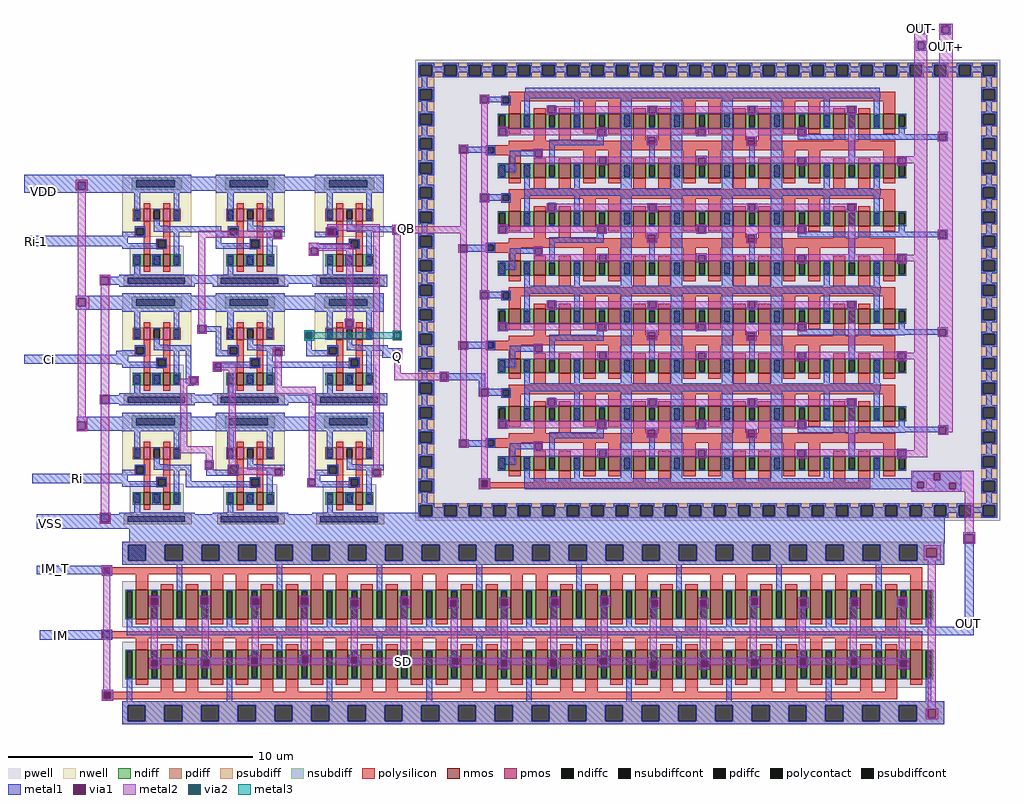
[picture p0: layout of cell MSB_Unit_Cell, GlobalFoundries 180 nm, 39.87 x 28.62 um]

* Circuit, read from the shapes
.subckt MSB_Unit_Cell IM_T IM VSS Ri Ci Ri-1 VDD QB Q OUT OUT+ OUT- SD
XM1 SD IM VSS VSS nfet_03v3 w=1.2u l=0.5u m=32
XM2 SD IM_T OUT VSS nfet_03v3 w=1.2u l=0.5u m=32
XM3 Local_Enc_0/NAND_3/SD Ri VSS VSS nfet_03v3 w=0.5u l=0.28u
XM4 Local_Enc_0/NAND_2/SD Ci VSS VSS nfet_03v3 w=0.5u l=0.28u
XM5 Local_Enc_0/NAND_0/SD Ri-1 VSS VSS nfet_03v3 w=0.5u l=0.28u
XM6 Local_Enc_0/NAND_6/A Ri Local_Enc_0/NAND_3/SD VSS nfet_03v3 w=0.5u l=0.28u
XM7 Local_Enc_0/NAND_6/B Ci Local_Enc_0/NAND_2/SD VSS nfet_03v3 w=0.5u l=0.28u
XM8 Local_Enc_0/NAND_1/A Ri-1 Local_Enc_0/NAND_0/SD VSS nfet_03v3 w=0.5u l=0.28u
XM9 Local_Enc_0/NAND_6/SD Local_Enc_0/NAND_6/B VSS VSS nfet_03v3 w=0.5u l=0.28u
XM10 Local_Enc_0/NAND_5/SD Local_Enc_0/NAND_5/B VSS VSS nfet_03v3 w=0.5u l=0.28u
XM11 Local_Enc_0/NAND_1/SD Local_Enc_0/NAND_1/A VSS VSS nfet_03v3 w=0.5u l=0.28u
XM12 Local_Enc_0/NAND_5/A Local_Enc_0/NAND_6/A Local_Enc_0/NAND_6/SD VSS nfet_03v3 w=0.5u l=0.28u
XM13 Local_Enc_0/NAND_7/A Local_Enc_0/NAND_5/A Local_Enc_0/NAND_5/SD VSS nfet_03v3 w=0.5u l=0.28u
XM14 Local_Enc_0/NAND_5/B Local_Enc_0/NAND_1/A Local_Enc_0/NAND_1/SD VSS nfet_03v3 w=0.5u l=0.28u
XM15 Local_Enc_0/NAND_7/SD Local_Enc_0/NAND_7/A VSS VSS nfet_03v3 w=0.5u l=0.28u
XM16 Local_Enc_0/NAND_8/SD QB VSS VSS nfet_03v3 w=0.5u l=0.28u
XM17 Local_Enc_0/NAND_4/SD Local_Enc_0/NAND_4/B VSS VSS nfet_03v3 w=0.5u l=0.28u
XM18 Local_Enc_0/NAND_4/B Local_Enc_0/NAND_7/A Local_Enc_0/NAND_7/SD VSS nfet_03v3 w=0.5u l=0.28u
XM19 Q Local_Enc_0/NAND_7/A Local_Enc_0/NAND_8/SD VSS nfet_03v3 w=0.5u l=0.28u
XM20 QB Q Local_Enc_0/NAND_4/SD VSS nfet_03v3 w=0.5u l=0.28u
XM21 OUT QB OUT- VSS nfet_03v3 w=0.6u l=0.5u m=64
XM22 OUT Q OUT+ VSS nfet_03v3 w=0.6u l=0.5u m=64
XM23 Local_Enc_0/NAND_6/A Ri VDD VDD pfet_03v3 w=0.5u l=0.28u m=2
XM24 Local_Enc_0/NAND_6/B Ci VDD VDD pfet_03v3 w=0.5u l=0.28u m=2
XM25 Local_Enc_0/NAND_1/A Ri-1 VDD VDD pfet_03v3 w=0.5u l=0.28u m=2
XM26 Local_Enc_0/NAND_5/A Local_Enc_0/NAND_6/B VDD VDD pfet_03v3 w=0.5u l=0.28u
XM27 Local_Enc_0/NAND_7/A Local_Enc_0/NAND_5/B VDD VDD pfet_03v3 w=0.5u l=0.28u
XM28 Local_Enc_0/NAND_5/B Local_Enc_0/NAND_1/A VDD VDD pfet_03v3 w=0.5u l=0.28u m=2
XM29 VDD Local_Enc_0/NAND_6/A Local_Enc_0/NAND_5/A VDD pfet_03v3 w=0.5u l=0.28u
XM30 VDD Local_Enc_0/NAND_5/A Local_Enc_0/NAND_7/A VDD pfet_03v3 w=0.5u l=0.28u
XM31 Local_Enc_0/NAND_4/B Local_Enc_0/NAND_7/A VDD VDD pfet_03v3 w=0.5u l=0.28u m=2
XM32 Q QB VDD VDD pfet_03v3 w=0.5u l=0.28u
XM33 QB Local_Enc_0/NAND_4/B VDD VDD pfet_03v3 w=0.5u l=0.28u
XM34 VDD Local_Enc_0/NAND_7/A Q VDD pfet_03v3 w=0.5u l=0.28u
XM35 VDD Q QB VDD pfet_03v3 w=0.5u l=0.28u
.ends

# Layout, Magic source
magic
tech gf180mcuC
magscale 1 10
<< pwell >>
rect -446 3978 4332 7401
rect -446 3967 3704 3978
rect -446 3898 3732 3967
rect 3783 3963 4332 3978
rect 3798 3898 4332 3963
rect -446 3633 4332 3898
<< psubdiff >>
rect -422 7360 4308 7377
rect -422 7270 -407 7360
rect -307 7270 -207 7360
rect -107 7270 -7 7360
rect 93 7270 193 7360
rect 293 7270 393 7360
rect 493 7270 593 7360
rect 693 7270 793 7360
rect 893 7270 993 7360
rect 1093 7270 1193 7360
rect 1293 7270 1393 7360
rect 1493 7270 1593 7360
rect 1693 7270 1793 7360
rect 1893 7270 1993 7360
rect 2093 7270 2193 7360
rect 2293 7270 2393 7360
rect 2493 7270 2593 7360
rect 2693 7270 2793 7360
rect 2893 7270 2993 7360
rect 3093 7270 3193 7360
rect 3293 7270 3393 7360
rect 3493 7270 3593 7360
rect 3693 7270 3793 7360
rect 3893 7270 3993 7360
rect 4093 7270 4193 7360
rect 4293 7270 4308 7360
rect -422 7257 4308 7270
rect -422 7160 -292 7257
rect -422 7070 -407 7160
rect -307 7070 -292 7160
rect -422 6960 -292 7070
rect -422 6870 -407 6960
rect -307 6870 -292 6960
rect -422 6760 -292 6870
rect -422 6670 -407 6760
rect -307 6670 -292 6760
rect -422 6560 -292 6670
rect -422 6470 -407 6560
rect -307 6470 -292 6560
rect -422 6360 -292 6470
rect -422 6270 -407 6360
rect -307 6270 -292 6360
rect -422 6160 -292 6270
rect -422 6070 -407 6160
rect -307 6070 -292 6160
rect -422 5960 -292 6070
rect -422 5870 -407 5960
rect -307 5870 -292 5960
rect -422 5760 -292 5870
rect -422 5670 -407 5760
rect -307 5670 -292 5760
rect -422 5560 -292 5670
rect -422 5470 -407 5560
rect -307 5470 -292 5560
rect -422 5360 -292 5470
rect -422 5270 -407 5360
rect -307 5270 -292 5360
rect -422 5160 -292 5270
rect -422 5070 -407 5160
rect -307 5070 -292 5160
rect -422 4960 -292 5070
rect -422 4870 -407 4960
rect -307 4870 -292 4960
rect -422 4760 -292 4870
rect -422 4670 -407 4760
rect -307 4670 -292 4760
rect -422 4560 -292 4670
rect -422 4470 -407 4560
rect -307 4470 -292 4560
rect -422 4360 -292 4470
rect -422 4270 -407 4360
rect -307 4270 -292 4360
rect -422 4160 -292 4270
rect -422 4070 -407 4160
rect -307 4070 -292 4160
rect -422 3960 -292 4070
rect 4178 7160 4308 7257
rect 4178 7070 4193 7160
rect 4293 7070 4308 7160
rect 4178 6960 4308 7070
rect 4178 6870 4193 6960
rect 4293 6870 4308 6960
rect 4178 6760 4308 6870
rect 4178 6670 4193 6760
rect 4293 6670 4308 6760
rect 4178 6560 4308 6670
rect 4178 6470 4193 6560
rect 4293 6470 4308 6560
rect 4178 6360 4308 6470
rect 4178 6270 4193 6360
rect 4293 6270 4308 6360
rect 4178 6160 4308 6270
rect 4178 6070 4193 6160
rect 4293 6070 4308 6160
rect 4178 5960 4308 6070
rect 4178 5870 4193 5960
rect 4293 5870 4308 5960
rect 4178 5760 4308 5870
rect 4178 5670 4193 5760
rect 4293 5670 4308 5760
rect 4178 5560 4308 5670
rect 4178 5470 4193 5560
rect 4293 5470 4308 5560
rect 4178 5360 4308 5470
rect 4178 5270 4193 5360
rect 4293 5270 4308 5360
rect 4178 5160 4308 5270
rect 4178 5070 4193 5160
rect 4293 5070 4308 5160
rect 4178 4960 4308 5070
rect 4178 4870 4193 4960
rect 4293 4870 4308 4960
rect 4178 4760 4308 4870
rect 4178 4670 4193 4760
rect 4293 4670 4308 4760
rect 4178 4560 4308 4670
rect 4178 4470 4193 4560
rect 4293 4470 4308 4560
rect 4178 4360 4308 4470
rect 4178 4270 4193 4360
rect 4293 4270 4308 4360
rect 4178 4160 4308 4270
rect 4178 4070 4193 4160
rect 4293 4070 4308 4160
rect -422 3870 -407 3960
rect -307 3870 -292 3960
rect 4178 3960 4308 4070
rect -422 3777 -292 3870
rect 4178 3870 4193 3960
rect 4293 3870 4308 3960
rect 4178 3777 4308 3870
rect -422 3760 4308 3777
rect -422 3670 -407 3760
rect -307 3670 -207 3760
rect -107 3670 -7 3760
rect 93 3670 193 3760
rect 293 3670 393 3760
rect 493 3670 593 3760
rect 693 3670 793 3760
rect 893 3670 993 3760
rect 1093 3670 1193 3760
rect 1293 3670 1393 3760
rect 1493 3670 1593 3760
rect 1693 3670 1793 3760
rect 1893 3670 1993 3760
rect 2093 3670 2193 3760
rect 2293 3670 2393 3760
rect 2493 3670 2593 3760
rect 2693 3670 2793 3760
rect 2893 3670 2993 3760
rect 3093 3670 3193 3760
rect 3293 3670 3393 3760
rect 3493 3670 3593 3760
rect 3693 3670 3793 3760
rect 3893 3670 3993 3760
rect 4093 3670 4193 3760
rect 4293 3670 4308 3760
rect -422 3657 4308 3670
<< psubdiffcont >>
rect -407 7270 -307 7360
rect -207 7270 -107 7360
rect -7 7270 93 7360
rect 193 7270 293 7360
rect 393 7270 493 7360
rect 593 7270 693 7360
rect 793 7270 893 7360
rect 993 7270 1093 7360
rect 1193 7270 1293 7360
rect 1393 7270 1493 7360
rect 1593 7270 1693 7360
rect 1793 7270 1893 7360
rect 1993 7270 2093 7360
rect 2193 7270 2293 7360
rect 2393 7270 2493 7360
rect 2593 7270 2693 7360
rect 2793 7270 2893 7360
rect 2993 7270 3093 7360
rect 3193 7270 3293 7360
rect 3393 7270 3493 7360
rect 3593 7270 3693 7360
rect 3793 7270 3893 7360
rect 3993 7270 4093 7360
rect 4193 7270 4293 7360
rect -407 7070 -307 7160
rect -407 6870 -307 6960
rect -407 6670 -307 6760
rect -407 6470 -307 6560
rect -407 6270 -307 6360
rect -407 6070 -307 6160
rect -407 5870 -307 5960
rect -407 5670 -307 5760
rect -407 5470 -307 5560
rect -407 5270 -307 5360
rect -407 5070 -307 5160
rect -407 4870 -307 4960
rect -407 4670 -307 4760
rect -407 4470 -307 4560
rect -407 4270 -307 4360
rect -407 4070 -307 4160
rect 4193 7070 4293 7160
rect 4193 6870 4293 6960
rect 4193 6670 4293 6760
rect 4193 6470 4293 6560
rect 4193 6270 4293 6360
rect 4193 6070 4293 6160
rect 4193 5870 4293 5960
rect 4193 5670 4293 5760
rect 4193 5470 4293 5560
rect 4193 5270 4293 5360
rect 4193 5070 4293 5160
rect 4193 4870 4293 4960
rect 4193 4670 4293 4760
rect 4193 4470 4293 4560
rect 4193 4270 4293 4360
rect 4193 4070 4293 4160
rect -407 3870 -307 3960
rect 4193 3870 4293 3960
rect -407 3670 -307 3760
rect -207 3670 -107 3760
rect -7 3670 93 3760
rect 193 3670 293 3760
rect 393 3670 493 3760
rect 593 3670 693 3760
rect 793 3670 893 3760
rect 993 3670 1093 3760
rect 1193 3670 1293 3760
rect 1393 3670 1493 3760
rect 1593 3670 1693 3760
rect 1793 3670 1893 3760
rect 1993 3670 2093 3760
rect 2193 3670 2293 3760
rect 2393 3670 2493 3760
rect 2593 3670 2693 3760
rect 2793 3670 2893 3760
rect 2993 3670 3093 3760
rect 3193 3670 3293 3760
rect 3393 3670 3493 3760
rect 3593 3670 3693 3760
rect 3793 3670 3893 3760
rect 3993 3670 4093 3760
rect 4193 3670 4293 3760
<< polysilicon >>
rect 75 3960 167 3981
rect 75 3909 95 3960
rect 146 3949 167 3960
rect 146 3909 697 3949
rect 75 3899 697 3909
rect 75 3889 167 3899
<< polycontact >>
rect 95 3909 146 3960
<< metal1 >>
rect 3645 7677 3729 7689
rect 3645 7621 3661 7677
rect 3716 7621 3729 7677
rect 3645 7608 3729 7621
rect 3846 7674 3930 7686
rect 3846 7618 3862 7674
rect 3917 7618 3930 7674
rect 3846 7605 3930 7618
rect 3643 7543 3727 7555
rect 3643 7487 3659 7543
rect 3714 7487 3727 7543
rect 3643 7474 3727 7487
rect 3851 7538 3935 7550
rect 3851 7482 3867 7538
rect 3922 7482 3935 7538
rect 3851 7469 3935 7482
rect -422 7360 -292 7377
rect -422 7270 -407 7360
rect -307 7343 -292 7360
rect -222 7360 -92 7377
rect -222 7343 -207 7360
rect -307 7297 -207 7343
rect -307 7270 -292 7297
rect -422 7257 -292 7270
rect -222 7270 -207 7297
rect -107 7343 -92 7360
rect -22 7360 108 7377
rect -22 7343 -7 7360
rect -107 7297 -7 7343
rect -107 7270 -92 7297
rect -222 7257 -92 7270
rect -22 7270 -7 7297
rect 93 7343 108 7360
rect 178 7360 308 7377
rect 178 7343 193 7360
rect 93 7297 193 7343
rect 93 7270 108 7297
rect -22 7257 108 7270
rect 178 7270 193 7297
rect 293 7343 308 7360
rect 378 7360 508 7377
rect 378 7343 393 7360
rect 293 7297 393 7343
rect 293 7270 308 7297
rect 178 7257 308 7270
rect 378 7270 393 7297
rect 493 7343 508 7360
rect 578 7360 708 7377
rect 578 7343 593 7360
rect 493 7297 593 7343
rect 493 7270 508 7297
rect 378 7257 508 7270
rect 578 7270 593 7297
rect 693 7343 708 7360
rect 778 7360 908 7377
rect 778 7343 793 7360
rect 693 7297 793 7343
rect 693 7270 708 7297
rect 578 7257 708 7270
rect 778 7270 793 7297
rect 893 7343 908 7360
rect 978 7360 1108 7377
rect 978 7343 993 7360
rect 893 7297 993 7343
rect 893 7270 908 7297
rect 778 7257 908 7270
rect 978 7270 993 7297
rect 1093 7343 1108 7360
rect 1178 7360 1308 7377
rect 1178 7343 1193 7360
rect 1093 7297 1193 7343
rect 1093 7270 1108 7297
rect 978 7257 1108 7270
rect 1178 7270 1193 7297
rect 1293 7343 1308 7360
rect 1378 7360 1508 7377
rect 1378 7343 1393 7360
rect 1293 7297 1393 7343
rect 1293 7270 1308 7297
rect 1178 7257 1308 7270
rect 1378 7270 1393 7297
rect 1493 7343 1508 7360
rect 1578 7360 1708 7377
rect 1578 7343 1593 7360
rect 1493 7297 1593 7343
rect 1493 7270 1508 7297
rect 1378 7257 1508 7270
rect 1578 7270 1593 7297
rect 1693 7343 1708 7360
rect 1778 7360 1908 7377
rect 1778 7343 1793 7360
rect 1693 7297 1793 7343
rect 1693 7270 1708 7297
rect 1578 7257 1708 7270
rect 1778 7270 1793 7297
rect 1893 7343 1908 7360
rect 1978 7360 2108 7377
rect 1978 7343 1993 7360
rect 1893 7297 1993 7343
rect 1893 7270 1908 7297
rect 1778 7257 1908 7270
rect 1978 7270 1993 7297
rect 2093 7343 2108 7360
rect 2178 7360 2308 7377
rect 2178 7343 2193 7360
rect 2093 7297 2193 7343
rect 2093 7270 2108 7297
rect 1978 7257 2108 7270
rect 2178 7270 2193 7297
rect 2293 7343 2308 7360
rect 2378 7360 2508 7377
rect 2378 7343 2393 7360
rect 2293 7297 2393 7343
rect 2293 7270 2308 7297
rect 2178 7257 2308 7270
rect 2378 7270 2393 7297
rect 2493 7343 2508 7360
rect 2578 7360 2708 7377
rect 2578 7343 2593 7360
rect 2493 7297 2593 7343
rect 2493 7270 2508 7297
rect 2378 7257 2508 7270
rect 2578 7270 2593 7297
rect 2693 7343 2708 7360
rect 2778 7360 2908 7377
rect 2778 7343 2793 7360
rect 2693 7297 2793 7343
rect 2693 7270 2708 7297
rect 2578 7257 2708 7270
rect 2778 7270 2793 7297
rect 2893 7343 2908 7360
rect 2978 7360 3108 7377
rect 2978 7343 2993 7360
rect 2893 7297 2993 7343
rect 2893 7270 2908 7297
rect 2778 7257 2908 7270
rect 2978 7270 2993 7297
rect 3093 7343 3108 7360
rect 3178 7360 3308 7377
rect 3178 7343 3193 7360
rect 3093 7297 3193 7343
rect 3093 7270 3108 7297
rect 2978 7257 3108 7270
rect 3178 7270 3193 7297
rect 3293 7343 3308 7360
rect 3378 7360 3508 7377
rect 3378 7343 3393 7360
rect 3293 7297 3393 7343
rect 3293 7270 3308 7297
rect 3178 7257 3308 7270
rect 3378 7270 3393 7297
rect 3493 7343 3508 7360
rect 3578 7360 3708 7377
rect 3578 7343 3593 7360
rect 3493 7297 3593 7343
rect 3493 7270 3508 7297
rect 3378 7257 3508 7270
rect 3578 7270 3593 7297
rect 3693 7343 3708 7360
rect 3778 7360 3908 7377
rect 3778 7343 3793 7360
rect 3693 7297 3793 7343
rect 3693 7270 3708 7297
rect 3578 7257 3708 7270
rect 3778 7270 3793 7297
rect 3893 7343 3908 7360
rect 3978 7360 4108 7377
rect 3978 7343 3993 7360
rect 3893 7297 3993 7343
rect 3893 7270 3908 7297
rect 3778 7257 3908 7270
rect 3978 7270 3993 7297
rect 4093 7343 4108 7360
rect 4178 7360 4308 7377
rect 4178 7343 4193 7360
rect 4093 7297 4193 7343
rect 4093 7270 4108 7297
rect 3978 7257 4108 7270
rect 4178 7270 4193 7297
rect 4293 7270 4308 7360
rect 4178 7257 4308 7270
rect -393 7177 -347 7257
rect 4220 7177 4266 7257
rect -422 7160 -292 7177
rect -422 7070 -407 7160
rect -307 7070 -292 7160
rect 454 7124 3348 7170
rect -422 7057 -292 7070
rect 81 7101 159 7113
rect -393 6977 -347 7057
rect 81 7047 93 7101
rect 147 7097 159 7101
rect 147 7051 281 7097
rect 147 7047 159 7051
rect 81 7039 159 7047
rect -422 6960 -292 6977
rect -422 6870 -407 6960
rect -307 6870 -292 6960
rect -422 6857 -292 6870
rect -393 6777 -347 6857
rect -422 6760 -292 6777
rect -422 6670 -407 6760
rect -307 6670 -292 6760
rect -422 6657 -292 6670
rect -90 6692 -12 6704
rect -393 6577 -347 6657
rect -90 6638 -78 6692
rect -24 6688 -12 6692
rect -24 6642 172 6688
rect -24 6638 -12 6642
rect -90 6632 -12 6638
rect -422 6560 -292 6577
rect -422 6470 -407 6560
rect -307 6470 -292 6560
rect -3641 6452 -2588 6462
rect -422 6457 -292 6470
rect -3641 6336 -2549 6452
rect -393 6377 -347 6457
rect -422 6360 -292 6377
rect -3641 6312 -2588 6336
rect -422 6270 -407 6360
rect -307 6270 -292 6360
rect -422 6257 -292 6270
rect 80 6302 158 6311
rect -393 6177 -347 6257
rect 80 6246 92 6302
rect 148 6246 284 6302
rect 80 6237 158 6246
rect -422 6160 -292 6177
rect -422 6070 -407 6160
rect -307 6070 -292 6160
rect -422 6057 -292 6070
rect -602 5992 -488 6038
rect -393 5977 -347 6057
rect -422 5960 -292 5977
rect -3625 5942 -2835 5960
rect -3625 5896 -2825 5942
rect -3625 5878 -2835 5896
rect -422 5870 -407 5960
rect -307 5870 -292 5960
rect -422 5857 -292 5870
rect -93 5887 -15 5894
rect -393 5777 -347 5857
rect -93 5831 -79 5887
rect -23 5831 163 5887
rect -93 5822 -15 5831
rect -422 5760 -292 5777
rect -422 5670 -407 5760
rect -307 5670 -292 5760
rect -422 5657 -292 5670
rect -393 5577 -347 5657
rect -422 5560 -292 5577
rect -422 5470 -407 5560
rect -307 5470 -292 5560
rect -422 5457 -292 5470
rect 80 5506 158 5517
rect -393 5377 -347 5457
rect 80 5450 92 5506
rect 148 5450 284 5506
rect 80 5443 158 5450
rect -422 5360 -292 5377
rect -422 5270 -407 5360
rect -307 5270 -292 5360
rect -422 5257 -292 5270
rect -393 5177 -347 5257
rect -422 5160 -292 5177
rect -422 5070 -407 5160
rect -307 5070 -292 5160
rect -422 5057 -292 5070
rect -94 5095 -11 5101
rect -2887 5007 -2815 5023
rect -716 5015 -551 5043
rect -2887 4991 -2804 5007
rect -716 4997 -617 5015
rect -3642 4917 -2790 4991
rect -673 4965 -617 4997
rect -630 4961 -617 4965
rect -563 4961 -551 5015
rect -393 4977 -347 5057
rect -94 5039 -79 5095
rect -23 5039 183 5095
rect -94 5029 -11 5039
rect -630 4954 -551 4961
rect -422 4960 -292 4977
rect -2887 4912 -2804 4917
rect -422 4870 -407 4960
rect -307 4870 -292 4960
rect -422 4857 -292 4870
rect -393 4777 -347 4857
rect -245 4838 -173 4852
rect -245 4782 -238 4838
rect -182 4782 128 4838
rect -422 4760 -292 4777
rect -245 4770 -173 4782
rect -422 4670 -407 4760
rect -307 4670 -292 4760
rect -422 4657 -292 4670
rect 72 4721 128 4782
rect 72 4711 156 4721
rect -393 4577 -347 4657
rect 72 4655 92 4711
rect 148 4655 280 4711
rect 72 4652 156 4655
rect 78 4647 156 4652
rect -422 4560 -292 4577
rect -422 4470 -407 4560
rect -307 4470 -292 4560
rect -422 4457 -292 4470
rect -393 4377 -347 4457
rect -422 4360 -292 4377
rect -422 4270 -407 4360
rect -307 4270 -292 4360
rect -422 4257 -292 4270
rect -92 4293 -10 4300
rect -393 4177 -347 4257
rect -92 4237 -79 4293
rect -23 4237 158 4293
rect -92 4228 -10 4237
rect -422 4160 -292 4177
rect -422 4070 -407 4160
rect -307 4070 -292 4160
rect -422 4057 -292 4070
rect -3573 4003 -2810 4019
rect -3573 3957 -2795 4003
rect -393 3977 -347 4057
rect 1234 3982 1325 7105
rect 1643 3982 1734 7105
rect 2058 3982 2149 7105
rect 2461 3982 2552 7111
rect 3302 7009 3348 7124
rect 4178 7160 4308 7177
rect 4178 7070 4193 7160
rect 4293 7070 4308 7160
rect 4178 7057 4308 7070
rect 4220 6977 4266 7057
rect 4178 6960 4308 6977
rect 4178 6870 4193 6960
rect 4293 6870 4308 6960
rect 4178 6857 4308 6870
rect 3824 6796 3906 6812
rect 3824 6792 3837 6796
rect 3494 6746 3837 6792
rect 3824 6742 3837 6746
rect 3891 6742 3906 6796
rect 4220 6777 4266 6857
rect 3824 6736 3906 6742
rect 4178 6760 4308 6777
rect 4178 6670 4193 6760
rect 4293 6670 4308 6760
rect 4178 6657 4308 6670
rect 4220 6577 4266 6657
rect 4178 6560 4308 6577
rect 4178 6470 4193 6560
rect 4293 6470 4308 6560
rect 4178 6457 4308 6470
rect 4220 6377 4266 6457
rect 4178 6360 4308 6377
rect 4178 6270 4193 6360
rect 4293 6270 4308 6360
rect 4178 6257 4308 6270
rect 4220 6177 4266 6257
rect 4178 6160 4308 6177
rect 4178 6070 4193 6160
rect 4293 6070 4308 6160
rect 4178 6057 4308 6070
rect 3824 5998 3906 6009
rect 3824 5995 3836 5998
rect 3526 5949 3836 5995
rect 3824 5942 3836 5949
rect 3892 5942 3906 5998
rect 4220 5977 4266 6057
rect 3824 5933 3906 5942
rect 4178 5960 4308 5977
rect 4178 5870 4193 5960
rect 4293 5870 4308 5960
rect 4178 5857 4308 5870
rect 4220 5777 4266 5857
rect 4178 5760 4308 5777
rect 4178 5670 4193 5760
rect 4293 5670 4308 5760
rect 4178 5657 4308 5670
rect 4220 5577 4266 5657
rect 4178 5560 4308 5577
rect 4178 5470 4193 5560
rect 4293 5470 4308 5560
rect 4178 5457 4308 5470
rect 4220 5377 4266 5457
rect 4178 5360 4308 5377
rect 4178 5270 4193 5360
rect 4293 5270 4308 5360
rect 4178 5257 4308 5270
rect 3822 5200 3904 5213
rect 3822 5198 3836 5200
rect 3495 5152 3836 5198
rect 3822 5144 3836 5152
rect 3892 5144 3904 5200
rect 4220 5177 4266 5257
rect 3822 5137 3904 5144
rect 4178 5160 4308 5177
rect 4178 5070 4193 5160
rect 4293 5070 4308 5160
rect 4178 5057 4308 5070
rect 4220 4977 4266 5057
rect 4178 4960 4308 4977
rect 4178 4870 4193 4960
rect 4293 4870 4308 4960
rect 4178 4857 4308 4870
rect 4220 4777 4266 4857
rect 4178 4760 4308 4777
rect 4178 4670 4193 4760
rect 4293 4670 4308 4760
rect 4178 4657 4308 4670
rect 4220 4577 4266 4657
rect 4178 4560 4308 4577
rect 4178 4470 4193 4560
rect 4293 4470 4308 4560
rect 4178 4457 4308 4470
rect 3826 4402 3908 4413
rect 3826 4401 3836 4402
rect 3507 4355 3836 4401
rect 3826 4346 3836 4355
rect 3892 4346 3908 4402
rect 4220 4377 4266 4457
rect 3826 4337 3908 4346
rect 4178 4360 4308 4377
rect 4178 4270 4193 4360
rect 4293 4270 4308 4360
rect 4178 4257 4308 4270
rect 4220 4177 4266 4257
rect 4178 4160 4308 4177
rect 4178 4070 4193 4160
rect 4293 4070 4308 4160
rect 4178 4057 4308 4070
rect 3618 4020 4015 4037
rect 3618 3982 3790 4020
rect -422 3960 -292 3977
rect -3573 3941 -2810 3957
rect -422 3870 -407 3960
rect -307 3870 -292 3960
rect 75 3963 167 3981
rect 75 3907 92 3963
rect 148 3907 167 3963
rect 75 3889 167 3907
rect 451 3966 3790 3982
rect 3844 3966 4015 4020
rect 4220 3977 4266 4057
rect 451 3952 4015 3966
rect 451 3898 3657 3952
rect 3711 3943 4015 3952
rect 3711 3898 3917 3943
rect 451 3891 3917 3898
rect 3618 3889 3917 3891
rect 3971 3889 4015 3943
rect 3618 3870 4015 3889
rect 4178 3960 4308 3977
rect 4178 3870 4193 3960
rect 4293 3870 4308 3960
rect -422 3857 -292 3870
rect 4178 3857 4308 3870
rect -393 3777 -347 3857
rect 4220 3777 4266 3857
rect -422 3760 -292 3777
rect -2784 3687 -2655 3699
rect -422 3698 -407 3760
rect -3538 3662 -2591 3687
rect -2361 3662 -2225 3673
rect -3538 3656 -2225 3662
rect -988 3670 -407 3698
rect -307 3743 -292 3760
rect -222 3760 -92 3777
rect -222 3743 -207 3760
rect -307 3670 -207 3743
rect -107 3743 -92 3760
rect -22 3760 108 3777
rect -22 3743 -7 3760
rect -107 3670 -7 3743
rect 93 3743 108 3760
rect 178 3760 308 3777
rect 178 3743 193 3760
rect 93 3670 193 3743
rect 293 3743 308 3760
rect 378 3760 508 3777
rect 378 3743 393 3760
rect 293 3670 393 3743
rect 493 3743 508 3760
rect 578 3760 708 3777
rect 578 3743 593 3760
rect 493 3670 593 3743
rect 693 3743 708 3760
rect 778 3760 908 3777
rect 778 3743 793 3760
rect 693 3670 793 3743
rect 893 3743 908 3760
rect 978 3760 1108 3777
rect 978 3743 993 3760
rect 893 3670 993 3743
rect 1093 3743 1108 3760
rect 1178 3760 1308 3777
rect 1178 3743 1193 3760
rect 1093 3670 1193 3743
rect 1293 3743 1308 3760
rect 1378 3760 1508 3777
rect 1378 3743 1393 3760
rect 1293 3670 1393 3743
rect 1493 3743 1508 3760
rect 1578 3760 1708 3777
rect 1578 3743 1593 3760
rect 1493 3670 1593 3743
rect 1693 3743 1708 3760
rect 1778 3760 1908 3777
rect 1778 3743 1793 3760
rect 1693 3670 1793 3743
rect 1893 3743 1908 3760
rect 1978 3760 2108 3777
rect 1978 3743 1993 3760
rect 1893 3670 1993 3743
rect 2093 3743 2108 3760
rect 2178 3760 2308 3777
rect 2178 3743 2193 3760
rect 2093 3670 2193 3743
rect 2293 3743 2308 3760
rect 2378 3760 2508 3777
rect 2378 3743 2393 3760
rect 2293 3670 2393 3743
rect 2493 3743 2508 3760
rect 2578 3760 2708 3777
rect 2578 3743 2593 3760
rect 2493 3670 2593 3743
rect 2693 3743 2708 3760
rect 2778 3760 2908 3777
rect 2778 3743 2793 3760
rect 2693 3670 2793 3743
rect 2893 3743 2908 3760
rect 2978 3760 3108 3777
rect 2978 3743 2993 3760
rect 2893 3670 2993 3743
rect 3093 3743 3108 3760
rect 3178 3760 3308 3777
rect 3178 3743 3193 3760
rect 3093 3670 3193 3743
rect 3293 3743 3308 3760
rect 3378 3760 3508 3777
rect 3378 3743 3393 3760
rect 3293 3670 3393 3743
rect 3493 3743 3508 3760
rect 3578 3760 3708 3777
rect 3578 3743 3593 3760
rect 3493 3670 3593 3743
rect 3693 3743 3708 3760
rect 3778 3760 3908 3777
rect 3778 3743 3793 3760
rect 3693 3670 3793 3743
rect 3893 3743 3908 3760
rect 3978 3760 4108 3777
rect 3978 3743 3993 3760
rect 3893 3697 3993 3743
rect 3893 3670 3908 3697
rect -988 3657 3908 3670
rect 3978 3670 3993 3697
rect 4093 3743 4108 3760
rect 4178 3760 4308 3777
rect 4178 3743 4193 3760
rect 4093 3697 4193 3743
rect 4093 3670 4108 3697
rect 3978 3657 4108 3670
rect 4178 3670 4193 3697
rect 4293 3670 4308 3760
rect 4178 3657 4308 3670
rect -988 3656 3879 3657
rect -3538 3570 3879 3656
rect -2784 3450 3879 3570
rect 4031 3524 4129 3540
rect 4031 3454 4046 3524
rect 4116 3454 4129 3524
rect -2784 3303 -2655 3450
rect 4031 3444 4129 3454
rect -3538 3196 -2939 3264
rect 4045 2769 4117 3444
rect -2997 2737 -2943 2738
rect -3513 2660 -2931 2737
rect 3984 2697 4117 2769
<< via1 >>
rect 3661 7621 3716 7677
rect 3862 7618 3917 7674
rect 3659 7487 3714 7543
rect 3867 7482 3922 7538
rect 93 7047 147 7101
rect -78 6638 -24 6692
rect 92 6246 148 6302
rect -79 5831 -23 5887
rect 92 5450 148 5506
rect -617 4961 -563 5015
rect -79 5039 -23 5095
rect -238 4782 -182 4838
rect 92 4655 148 4711
rect -79 4237 -23 4293
rect 3837 6742 3891 6796
rect 3836 5942 3892 5998
rect 3836 5144 3892 5200
rect 3836 4346 3892 4402
rect 92 3960 148 3963
rect 92 3909 95 3960
rect 95 3909 146 3960
rect 146 3909 148 3960
rect 92 3907 148 3909
rect 3790 3966 3844 4020
rect 3657 3898 3711 3952
rect 3917 3889 3971 3943
rect 4046 3454 4116 3524
<< metal2 >>
rect 3633 7677 3738 7695
rect 3633 7621 3661 7677
rect 3716 7621 3738 7677
rect 3633 7543 3738 7621
rect 3633 7487 3659 7543
rect 3714 7487 3738 7543
rect 81 7101 159 7113
rect 81 7047 93 7101
rect 147 7047 159 7101
rect 81 7039 159 7047
rect -90 6692 -12 6704
rect -90 6638 -78 6692
rect -24 6638 -12 6692
rect -90 6632 -12 6638
rect -79 6038 -23 6632
rect 92 6311 148 7039
rect 3633 6610 3738 7487
rect 3836 7674 3944 7693
rect 3836 7618 3862 7674
rect 3917 7618 3944 7674
rect 3836 7538 3944 7618
rect 3836 7482 3867 7538
rect 3922 7482 3944 7538
rect 3836 6812 3944 7482
rect 3824 6796 3944 6812
rect 3824 6742 3837 6796
rect 3891 6742 3944 6796
rect 3824 6736 3944 6742
rect 3531 6554 3738 6610
rect 80 6302 158 6311
rect 80 6246 92 6302
rect 148 6246 158 6302
rect 80 6237 158 6246
rect -618 5982 -23 6038
rect -79 5894 -23 5982
rect -93 5887 -15 5894
rect -93 5831 -79 5887
rect -23 5831 -15 5887
rect -93 5822 -15 5831
rect -79 5101 -23 5822
rect 92 5517 148 6237
rect 3633 5808 3738 6554
rect 3836 6009 3944 6736
rect 3824 5998 3944 6009
rect 3824 5942 3836 5998
rect 3892 5942 3944 5998
rect 3824 5933 3944 5942
rect 3530 5752 3738 5808
rect 80 5506 158 5517
rect 80 5450 92 5506
rect 148 5450 158 5506
rect 80 5443 158 5450
rect -94 5095 -11 5101
rect -94 5039 -79 5095
rect -23 5039 -11 5095
rect -94 5029 -11 5039
rect -630 5015 -551 5027
rect -630 4961 -617 5015
rect -563 4961 -551 5015
rect -630 4954 -551 4961
rect -618 4838 -562 4954
rect -245 4838 -173 4852
rect -618 4782 -238 4838
rect -182 4782 -173 4838
rect -245 4774 -173 4782
rect -245 4770 -175 4774
rect -79 4300 -23 5029
rect 92 4721 148 5443
rect 3633 5008 3738 5752
rect 3836 5213 3944 5933
rect 3822 5200 3944 5213
rect 3822 5144 3836 5200
rect 3892 5144 3944 5200
rect 3822 5137 3944 5144
rect 3544 4952 3738 5008
rect 78 4711 156 4721
rect 78 4655 92 4711
rect 148 4655 156 4711
rect 78 4647 156 4655
rect -92 4293 -10 4300
rect -92 4237 -79 4293
rect -23 4237 -10 4293
rect -92 4228 -10 4237
rect 92 3981 148 4647
rect 3633 4208 3738 4952
rect 3836 4413 3944 5137
rect 3826 4402 3944 4413
rect 3826 4346 3836 4402
rect 3892 4357 3944 4402
rect 3892 4346 3908 4357
rect 3826 4337 3908 4346
rect 3538 4152 3738 4208
rect 3605 4020 4117 4043
rect 75 3963 167 3981
rect 75 3907 92 3963
rect 148 3907 167 3963
rect 75 3889 167 3907
rect 3605 3966 3790 4020
rect 3844 3966 4117 4020
rect 3605 3952 4117 3966
rect 3605 3898 3657 3952
rect 3711 3943 4117 3952
rect 3711 3898 3917 3943
rect 3605 3889 3917 3898
rect 3971 3889 4117 3943
rect 3605 3870 4117 3889
rect 4045 3540 4117 3870
rect 4031 3524 4129 3540
rect 4031 3454 4046 3524
rect 4116 3454 4129 3524
rect 4031 3444 4129 3454
rect -2995 3104 -2937 3259
rect -569 2452 -512 2619
use CM_MSB_V2  CM_MSB_V2_0
transform 1 0 -2839 0 1 2178
box -171 -208 6915 1285
use Local_Enc  Local_Enc_0
transform 1 0 -2914 0 1 3601
box -304 -1 2426 2861
use MSB_Unit_Cell_p2  MSB_Unit_Cell_p2_0
transform 1 0 205 0 1 5176
box -74 -480 3384 367
use MSB_Unit_Cell_p2  MSB_Unit_Cell_p2_1
transform 1 0 205 0 1 4379
box -74 -480 3384 367
use MSB_Unit_Cell_p2  MSB_Unit_Cell_p2_2
transform 1 0 205 0 1 5973
box -74 -480 3384 367
use MSB_Unit_Cell_p2  MSB_Unit_Cell_p2_3
transform 1 0 205 0 1 6770
box -74 -480 3384 367
<< labels >>
flabel metal1 -3384 3241 -3384 3241 0 FreeSans 1600 0 0 0 IM_T
port 0 nsew
flabel metal1 -3340 2694 -3340 2694 0 FreeSans 1600 0 0 0 IM
port 1 nsew
flabel metal1 -3423 3612 -3423 3612 0 FreeSans 1600 0 0 0 VSS
port 2 nsew
flabel metal1 -3204 3981 -3204 3981 0 FreeSans 1600 0 0 0 Ri
port 3 nsew
flabel metal1 -3431 4954 -3431 4954 0 FreeSans 1600 0 0 0 Ci
port 4 nsew
flabel metal1 -3540 5919 -3540 5919 0 FreeSans 1600 0 0 0 Ri-1
port 5 nsew
flabel metal1 -3483 6325 -3483 6325 0 FreeSans 1600 0 0 0 VDD
port 6 nsew
flabel metal2 -517 6019 -517 6019 0 FreeSans 1600 0 0 0 QB
port 7 nsew
flabel via1 -589 4973 -589 4973 0 FreeSans 1600 0 0 0 Q
port 8 nsew
flabel metal1 4074 2797 4074 2797 0 FreeSans 1600 0 0 0 OUT
port 9 nsew
flabel via1 3898 7510 3898 7510 0 FreeSans 1600 0 0 0 OUT+
port 10 nsew
flabel via1 3681 7653 3681 7653 0 FreeSans 1600 0 0 0 OUT-
port 11 nsew
flabel metal2 -540 2480 -540 2480 0 FreeSans 1600 0 0 0 SD
port 12 nsew
<< end >>

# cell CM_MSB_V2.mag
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
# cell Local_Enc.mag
magic
tech gf180mcuC
magscale 1 10
<< nwell >>
rect 1738 2353 1814 2427
<< metal1 >>
rect 75 2845 190 2846
rect -304 2802 -208 2817
rect 75 2802 2212 2845
rect -304 2735 -289 2802
rect -222 2735 2212 2802
rect -304 2729 -208 2735
rect 75 2730 2212 2735
rect 2280 2437 2361 2451
rect 74 2255 120 2395
rect 593 2391 883 2437
rect 2167 2435 2426 2437
rect 1738 2421 1814 2427
rect 837 2255 883 2391
rect 1299 2401 1380 2410
rect 1299 2345 1314 2401
rect 1370 2345 1380 2401
rect 1738 2365 1749 2421
rect 1805 2365 1814 2421
rect 2167 2391 2293 2435
rect 2280 2379 2293 2391
rect 2349 2391 2426 2435
rect 2349 2379 2361 2391
rect 2280 2369 2361 2379
rect 1738 2353 1814 2365
rect 1299 2333 1380 2345
rect 1599 2264 1681 2302
rect 1599 2208 1615 2264
rect 1671 2208 1681 2264
rect 1599 2197 1681 2208
rect -111 2028 -25 2042
rect 51 2028 2227 2037
rect -111 2027 2227 2028
rect -111 1962 -99 2027
rect -34 1970 2227 2027
rect -34 1962 118 1970
rect -111 1961 118 1962
rect -111 1955 -25 1961
rect -304 1871 -194 1872
rect -304 1851 2187 1871
rect -304 1784 -289 1851
rect -222 1784 2187 1851
rect -304 1756 2187 1784
rect 1893 1669 1971 1681
rect 687 1625 765 1635
rect 687 1571 699 1625
rect 753 1621 765 1625
rect 753 1575 883 1621
rect 1893 1615 1905 1669
rect 1959 1615 1971 1669
rect 1893 1603 1971 1615
rect 1909 1592 1955 1603
rect 753 1571 765 1575
rect 687 1559 765 1571
rect 74 1284 120 1424
rect 593 1213 639 1466
rect 837 1378 883 1575
rect 1560 1573 1643 1588
rect 1560 1519 1574 1573
rect 1628 1519 1643 1573
rect 1560 1504 1643 1519
rect 1325 1449 1371 1466
rect 1303 1437 1387 1449
rect 1303 1383 1321 1437
rect 1375 1383 1387 1437
rect 1303 1377 1387 1383
rect 1578 1424 1624 1504
rect 1578 1378 1694 1424
rect 2167 1420 2244 1466
rect 2198 1410 2244 1420
rect 2198 1364 2343 1410
rect 816 1319 886 1332
rect 816 1263 826 1319
rect 882 1263 886 1319
rect 1263 1284 1696 1330
rect 816 1251 886 1263
rect 593 1204 696 1213
rect 593 1154 630 1204
rect 618 1150 630 1154
rect 684 1150 696 1204
rect 618 1141 696 1150
rect -110 1057 -29 1064
rect 51 1057 2219 1064
rect -110 1056 2219 1057
rect -110 991 -98 1056
rect -33 997 2219 1056
rect -33 991 118 997
rect -110 990 118 991
rect -110 986 -29 990
rect -299 843 2196 883
rect -299 775 -289 843
rect -222 775 2196 843
rect -299 768 2196 775
rect -299 767 -208 768
rect -299 763 -210 767
rect 749 514 824 526
rect 74 309 120 449
rect 593 354 639 491
rect 749 460 758 514
rect 812 460 824 514
rect 1324 472 1370 490
rect 1319 466 1375 472
rect 749 448 824 460
rect 1303 463 1386 466
rect 2129 464 2175 490
rect 762 402 883 448
rect 1303 409 1320 463
rect 1374 409 1386 463
rect 2124 460 2180 464
rect 2112 455 2189 460
rect 1303 396 1386 409
rect 1648 380 1694 448
rect 2112 401 2125 455
rect 2179 401 2189 455
rect 2112 389 2189 401
rect 1586 373 1694 380
rect 593 308 885 354
rect 1586 319 1599 373
rect 1653 319 1694 373
rect 1586 309 1694 319
rect 1586 305 1655 309
rect -111 86 -18 96
rect -111 19 -99 86
rect -32 19 2229 86
rect -111 7 -18 19
<< via1 >>
rect -289 2735 -222 2802
rect 1314 2345 1370 2401
rect 1749 2365 1805 2421
rect 2293 2379 2349 2435
rect 1615 2208 1671 2264
rect -99 1962 -34 2027
rect -289 1784 -222 1851
rect 699 1571 753 1625
rect 1905 1615 1959 1669
rect 1574 1519 1628 1573
rect 1321 1383 1375 1437
rect 826 1263 882 1319
rect 630 1150 684 1204
rect -98 991 -33 1056
rect -289 775 -222 843
rect 758 460 812 514
rect 1320 409 1374 463
rect 2125 401 2179 455
rect 1599 319 1653 373
rect -99 19 -32 86
<< metal2 >>
rect -304 2802 -208 2817
rect -304 2735 -289 2802
rect -222 2735 -208 2802
rect -304 2729 -208 2735
rect -289 1872 -222 2729
rect 1749 2430 2180 2456
rect 1738 2421 2180 2430
rect 1304 2401 1380 2410
rect 697 2345 1314 2401
rect 1370 2345 1380 2401
rect 1738 2365 1749 2421
rect 1805 2400 2180 2421
rect 1805 2365 1819 2400
rect 1738 2349 1819 2365
rect -111 2027 -25 2042
rect -111 1962 -99 2027
rect -34 1962 -25 2027
rect -111 1955 -25 1962
rect -304 1851 -194 1872
rect -304 1784 -289 1851
rect -222 1784 -194 1851
rect -304 1756 -194 1784
rect -289 883 -222 1756
rect -99 1064 -32 1955
rect 697 1659 753 2345
rect 1304 2333 1380 2345
rect 1599 2293 1681 2302
rect 1599 2264 1960 2293
rect 1599 2208 1615 2264
rect 1671 2237 1960 2264
rect 1671 2208 1681 2237
rect 1599 2197 1681 2208
rect 1904 1681 1960 2237
rect 1893 1669 1971 1681
rect 697 1635 754 1659
rect 687 1625 765 1635
rect 687 1571 699 1625
rect 753 1571 765 1625
rect 1893 1615 1905 1669
rect 1959 1615 1971 1669
rect 1893 1603 1971 1615
rect 687 1559 765 1571
rect 1560 1574 1643 1588
rect 1560 1518 1573 1574
rect 1629 1518 1643 1574
rect 1560 1504 1643 1518
rect 1303 1437 1387 1449
rect 1303 1383 1321 1437
rect 1375 1383 1387 1437
rect 1303 1377 1387 1383
rect 1320 1346 1377 1377
rect 816 1319 886 1332
rect 816 1263 826 1319
rect 882 1263 1002 1319
rect 816 1251 886 1263
rect 616 1204 699 1214
rect 616 1191 630 1204
rect 548 1150 630 1191
rect 684 1150 699 1204
rect 548 1140 699 1150
rect 548 1135 660 1140
rect -110 1056 -29 1064
rect -110 991 -98 1056
rect -33 991 -29 1056
rect -110 986 -29 991
rect -299 843 -210 883
rect -299 775 -289 843
rect -222 775 -210 843
rect -299 763 -210 775
rect -99 96 -32 986
rect 548 640 604 1135
rect 548 584 813 640
rect 757 526 813 584
rect 749 514 824 526
rect 749 460 758 514
rect 812 460 824 514
rect 749 448 824 460
rect 946 464 1002 1263
rect 1321 1127 1377 1346
rect 1321 1071 1654 1127
rect 1303 464 1386 466
rect 946 463 1386 464
rect 946 409 1320 463
rect 1374 409 1386 463
rect 946 408 1386 409
rect 1303 396 1386 408
rect 1598 380 1654 1071
rect 2124 460 2180 2400
rect 2280 2435 2361 2451
rect 2280 2379 2293 2435
rect 2349 2379 2361 2435
rect 2280 2369 2361 2379
rect 2293 1583 2349 2369
rect 2284 1574 2360 1583
rect 2284 1518 2293 1574
rect 2349 1518 2360 1574
rect 2284 1506 2360 1518
rect 2112 455 2189 460
rect 2112 401 2125 455
rect 2179 401 2189 455
rect 2112 389 2189 401
rect 1586 373 1655 380
rect 1586 319 1599 373
rect 1653 319 1655 373
rect 1586 305 1655 319
rect -111 86 -18 96
rect -111 19 -99 86
rect -32 19 -18 86
rect -111 7 -18 19
<< via2 >>
rect 1573 1573 1629 1574
rect 1573 1519 1574 1573
rect 1574 1519 1628 1573
rect 1628 1519 1629 1573
rect 1573 1518 1629 1519
rect 2293 1518 2349 1574
<< metal3 >>
rect 1560 1574 1643 1588
rect 2284 1574 2360 1583
rect 1560 1518 1573 1574
rect 1629 1518 2293 1574
rect 2349 1518 2360 1574
rect 1560 1504 1643 1518
rect 2284 1506 2360 1518
use NAND  NAND_0
transform 1 0 137 0 1 2043
box -86 -97 530 818
use NAND  NAND_1
transform 1 0 900 0 1 2043
box -86 -97 530 818
use NAND  NAND_2
transform 1 0 137 0 1 1072
box -86 -97 530 818
use NAND  NAND_3
transform 1 0 137 0 1 97
box -86 -97 530 818
use NAND  NAND_4
transform 1 0 1711 0 1 2043
box -86 -97 530 818
use NAND  NAND_5
transform 1 0 900 0 1 1072
box -86 -97 530 818
use NAND  NAND_6
transform 1 0 900 0 1 96
box -86 -97 530 818
use NAND  NAND_7
transform 1 0 1711 0 1 96
box -86 -97 530 818
use NAND  NAND_8
transform 1 0 1711 0 1 1072
box -86 -97 530 818
<< labels >>
flabel metal1 93 2328 93 2328 0 FreeSans 480 0 0 0 Ri-1
port 0 nsew
flabel metal1 1098 2792 1098 2792 0 FreeSans 480 0 0 0 VDD
port 1 nsew
flabel metal1 1102 2005 1102 2005 0 FreeSans 480 0 0 0 VSS
port 2 nsew
flabel metal1 2322 1385 2322 1385 0 FreeSans 480 0 0 0 Q
port 3 nsew
flabel metal1 2396 2412 2396 2412 0 FreeSans 480 0 0 0 QB
port 4 nsew
flabel metal1 93 1350 93 1350 0 FreeSans 480 0 0 0 Ci
port 5 nsew
flabel metal1 92 377 92 377 0 FreeSans 480 0 0 0 Ri
port 6 nsew
<< end >>

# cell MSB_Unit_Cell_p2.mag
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
# cell nmos_3p3_AGPLV7: kit device nmos_3p3, w 0.6 l 0.50 m 1 nf 1 diffcov 100 polycov 100 guard 0 glc 0 grc 0 gtc 0 gbc 0 tbcov 100 rlcov 100 topc 0 botc 0 poverlap 0 doverlap 1 lmin 0.28 wmin 0.22 full_metal 0 compatible {nmos_3p3 nmos_6p0 nmos_6p0_nat}

# cell nmos_3p3_AQEADK: kit device nmos_3p3, w 0.60 l 0.5 m 1 nf 1 diffcov 100 polycov 100 guard 0 glc 0 grc 0 gtc 0 gbc 0 tbcov 100 rlcov 100 topc 0 botc 0 poverlap 0 doverlap 1 lmin 0.28 wmin 0.22 full_metal 0 compatible {nmos_3p3 nmos_6p0 nmos_6p0_nat}

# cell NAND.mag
magic
tech gf180mcuC
magscale 1 10
<< nwell >>
rect -62 668 502 818
rect 243 394 306 398
rect 38 393 127 394
rect 38 332 125 393
rect 243 392 403 394
rect 310 379 476 380
rect 310 352 502 379
rect 272 348 502 352
rect 272 346 328 348
rect 357 346 502 348
rect 112 322 122 332
rect 310 328 502 346
<< pwell >>
rect 229 280 289 281
rect 229 221 292 280
rect 87 211 218 212
rect 303 211 416 212
<< psubdiff >>
rect -50 -26 504 -10
rect -50 -74 -19 -26
rect 450 -74 504 -26
rect -50 -92 504 -74
<< nsubdiff >>
rect 16 772 422 792
rect 16 716 53 772
rect 365 716 422 772
rect 16 695 422 716
<< psubdiffcont >>
rect -19 -74 450 -26
<< nsubdiffcont >>
rect 53 716 365 772
<< polysilicon >>
rect 38 380 168 394
rect 38 321 52 380
rect 115 321 168 380
rect 38 306 168 321
rect 112 212 168 306
rect 272 293 328 394
rect 216 280 328 293
rect 216 221 229 280
rect 292 221 328 280
rect 216 212 328 221
rect 216 208 303 212
<< polycontact >>
rect 52 321 115 380
rect 229 221 292 280
<< metal1 >>
rect -62 772 502 818
rect -62 716 53 772
rect 365 716 502 772
rect -62 668 502 716
rect 34 449 85 668
rect 209 447 230 454
rect 197 440 242 447
rect 357 440 403 668
rect 197 398 243 440
rect 197 394 306 398
rect 38 380 127 394
rect 38 352 52 380
rect -63 321 52 352
rect 115 321 127 380
rect 197 352 502 394
rect 273 348 502 352
rect -63 306 127 321
rect 218 280 303 291
rect 218 258 229 280
rect -61 221 229 258
rect 292 221 303 280
rect -61 212 303 221
rect 37 1 83 166
rect 184 67 251 165
rect 357 70 403 348
rect -86 -26 530 1
rect -86 -74 -19 -26
rect 450 -74 530 -26
rect -86 -97 530 -74
use nmos_3p3_HZS5UA  nmos_3p3_HZS5UA_0
transform 1 0 300 0 1 118
box -140 -118 140 118
use nmos_3p3_HZS5UA  nmos_3p3_HZS5UA_1
transform 1 0 140 0 1 118
box -140 -118 140 118
use pmos_3p3_M8RWPS  pmos_3p3_M8RWPS_0
transform -1 0 300 0 1 488
box -202 -180 202 180
use pmos_3p3_M8RWPS  pmos_3p3_M8RWPS_1
transform 1 0 140 0 1 488
box -202 -180 202 180
<< labels >>
flabel nsubdiffcont 207 744 207 744 0 FreeSans 320 0 0 0 VDD
port 0 nsew
flabel psubdiffcont 216 -48 216 -48 0 FreeSans 320 0 0 0 VSS
port 1 nsew
flabel metal1 -33 330 -33 330 0 FreeSans 480 0 0 0 B
port 2 nsew
flabel metal1 -30 232 -30 232 0 FreeSans 480 0 0 0 A
port 3 nsew
flabel metal1 469 376 469 376 0 FreeSans 480 0 0 0 OUT
port 4 nsew
flabel metal1 218 109 218 109 0 FreeSans 480 0 0 0 SD
port 5 nsew
<< end >>

# cell nmos_3p3_HZS5UA: kit device nmos_3p3, w 0.50 l 0.280 m 1 nf 1 diffcov 100 polycov 100 guard 0 glc 0 grc 0 gtc 0 gbc 0 tbcov 100 rlcov 100 topc 0 botc 0 poverlap 0 doverlap 1 lmin 0.28 wmin 0.22 full_metal 0 compatible {nmos_3p3 nmos_6p0 nmos_6p0_nat}

# cell pmos_3p3_M8RWPS: kit device pmos_3p3, w 0.50 l 0.280 m 1 nf 1 diffcov 100 polycov 100 guard 0 glc 0 grc 0 gtc 0 gbc 0 tbcov 100 rlcov 100 topc 0 botc 0 poverlap 0 doverlap 1 lmin 0.28 wmin 0.22 full_metal 0 compatible {pmos_3p3 pmos_6p0}

# cell nmos_3p3_LNPLVM: kit device nmos_3p3, w 1.2 l 0.5 m 1 nf 32 diffcov 100 polycov 100 guard 0 glc 0 grc 0 gtc 0 gbc 0 tbcov 100 rlcov 100 topc 0 botc 0 poverlap 0 doverlap 1 lmin 0.28 wmin 0.22 full_metal 0 compatible {nmos_3p3 nmos_6p0 nmos_6p0_nat}
